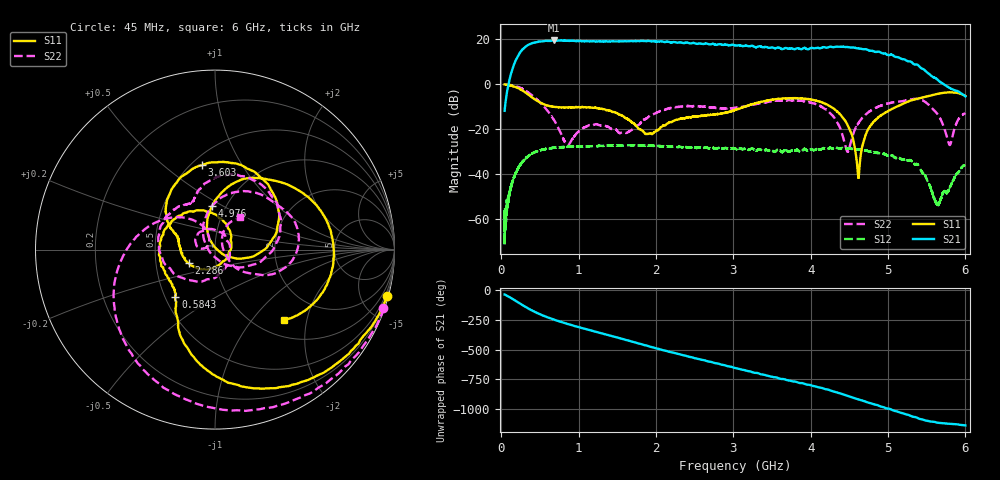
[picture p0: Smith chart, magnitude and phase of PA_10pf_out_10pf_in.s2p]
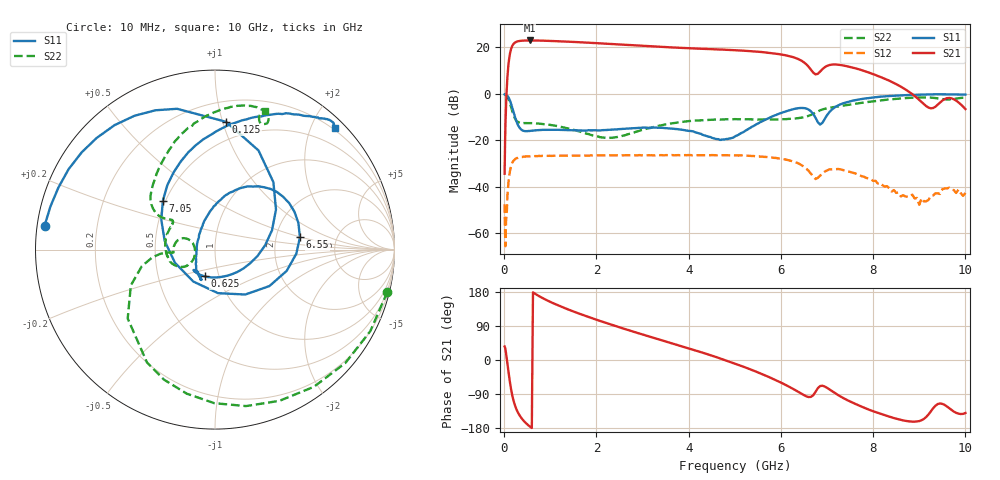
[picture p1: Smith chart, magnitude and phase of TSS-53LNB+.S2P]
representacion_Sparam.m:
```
addpath('/Users/danielmontesano/Documents/MATLAB/rend_v2')
rend('default','painters')


%% PA

pa = sparameters('Sparam/PA_10pf_out_10pf_in.s2p');
pa_man = sparameters('Manufacturer/TSS-53LNB+.S2P');
figure;
hold on;
% rfplot(sparameters('PA_ON.s2p'));
% rfplot(sparameters('PA_L.s2p'));
% rfplot(sparameters('PA_0ohm_out.s2p'));
% rfplot(sparameters('PA_33pf_out.s2p'));
% rfplot(sparameters('PA_10pf_out_10pf_in.s2p'));
% rfplot(sparameters('PA_15pf_out.s2p'));
% rfplot(sparameters('PA_3.3pf_out.s2p'));
% rfplot(sparameters('PA_10pf_out_330pf_in.s2p'));

rfplot(pa,2,1);
rfplot(pa,1,1);
rfplot(pa,2,2);
rfplot(pa_man,2,1,'--');
rfplot(pa_man,1,1,'--');
rfplot(pa_man,2,2,'--');

lines = findobj(gcf,'Type','Line');
for i = 1:numel(lines)
  lines(i).LineWidth = 2.0;
end

ylim([-25 25])
yticks(-25:5:25)
xlim([1.5e9 3.5e9])
xticks(1.5e9:0.25e9:3.5e9);
title('PA S parameters');
legend({'Measured gain','Measured Input R_{loss}','Measured Output R_{loss}','Manufacturer gain','Manufacturer Input R_{loss}','Manufacturer Output R_{loss}'},'Position',[0.25 0.5 0.2 0.2],'fontsize',14);
xlabel('Frequency [Hz]')
ylabel('Magnitude [dB]');
set(gcf, 'color', 'w')
set(gca, 'fontsize', 18)

print('V2_PA_Sparam','-depsc')
savefig('V2_PA_Sparam')
```
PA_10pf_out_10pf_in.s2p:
!Agilent Technologies,E8364A,US41440144,A.06.04.32
!Agilent E8364A: A.06.04.32
!Date: Thursday, November 08, 2018 15:20:55
!Correction: S11(Full 2 Port(1,2)) S21(Full 2 Port(1,2)) S12(Full 2 Port(1,2)) S22(Full 2 Port(1,2))
!S2P File: Measurements: S11, S21, S12, S22:
# Hz S  dB  R 50
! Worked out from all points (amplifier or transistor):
!   16001 points, 45 MHz to 6 GHz, reference 50 ohm
!   highest |S21| = 19.5 dB at 677 MHz (marker M1)
!   |S21| within 3 dB of that: 308.8 MHz to 3.286 GHz (2.977 GHz wide, 166 % of centre)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
!   unconditionally stable (mu >= 1): start of sweep to 48.49 MHz; 48.97 MHz to 49.89 MHz; 50.51 MHz to end of sweep
!   at 1.037 GHz: K = 1.36, MAG = 19.9 dB, |S12| = -27.6 dB
!   at 3.022 GHz: K = 1.74, MAG = 18.0 dB, |S12| = -28.6 dB
!   at 6 GHz: K = 38.90, MAG = -3.6 dB, |S12| = -36.0 dB
!   S11 on the Smith chart (normalised r, x): 45 MHz: 0.20, -7.52; 584.3 MHz: 0.57, -0.34; 2.286 GHz: 0.74, -0.12; 3.603 GHz: 0.56, +0.68; 4.976 GHz: 0.86, +0.44; 6 GHz: 1.31, -1.47
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4.5e7  -0.06 -15.1  -11.79 -35.1  -55.96 161.3  -0.06 -19.2
5.842997e8  -9.28 -130.0  19.32 137.0  -28.68 -16.8  -11.09 139.7
6.769744e8  -10.00 -136.4  19.48 115.3  -28.25 -37.0  -15.54 120.5
1.332024e9  -11.08 138.9  19.03 -7.7  -27.36 -147.3  -18.27 109.4
1.801353e9  -20.12 22.1  19.25 -91.5  -27.22 140.6  -17.16 -81.5
2.285941e9  -15.73 -152.4  18.51 -175.7  -27.88 71.0  -10.09 175.2
3.0225e9  -11.37 154.7  17.31 65.1  -28.65 -32.4  -10.56 113.4
3.603112e9  -6.46 99.0  16.12 -25.9  -29.35 -112.8  -7.25 71.3
4.459516e9  -16.92 -20.9  16.56 -166.1  -28.59 122.0  -28.61 -104.7
4.976484e9  -12.35 93.9  13.43 85.8  -31.31 24.3  -8.73 62.7
6e9  -5.19 -45.7  -5.38 -59.6  -36.00 -110.2  -12.82 52.3
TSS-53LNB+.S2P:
!Mini-Circuits Laboratory
!S-Parameters
!Model: TSS-53LNB+
!Run / Lot / Date Code: NA / NA / NA
!Fixture: NA; UNIT ON TB
!AUTO PORT EXTENSION DONE: PORT<1>=91.91ps; PORT<2>=84.91ps
!Network Analyzer: PNA-X N5242A - 423 4 ports;  Serial number: 71256
!Date: 4/4/2014 at 12:21:25 PM
!S/N: Unit# 1
# Hz  S  dB  R  50
!Frequency  S11 dB  S11 Deg  S21 dB  S21 Deg  S12 dB  S12 Deg  S22 dB  S22 Deg
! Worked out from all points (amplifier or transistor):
!   326 points, 10 MHz to 10 GHz, reference 50 ohm
!   highest |S21| = 22.9 dB at 550 MHz (marker M1)
!   |S21| within 3 dB of that: 162.5 MHz to 3.639 GHz (3.477 GHz wide, 183 % of centre)
!   unconditionally stable (mu >= 1): start of sweep to end of sweep
!   at 1.225 GHz: K = 1.08, MAG = 22.8 dB, |S12| = -26.7 dB
!   at 3.95 GHz: K = 1.24, MAG = 20.1 dB, |S12| = -26.5 dB
!   at 10 GHz: K = 4.27, MAG = 8.8 dB, |S12| = -42.7 dB
!   S11 on the Smith chart (normalised r, x): 10 MHz: 0.02, +0.07; 125 MHz: 0.35, +1.03; 625 MHz: 0.85, -0.26; 6.55 GHz: 2.73, +0.48; 7.05 GHz: 0.48, +0.31; 10 GHz: 0.17, +2.38
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1e7  -0.37 172.0  -34.48 35.6  -47.65 154.0  -0.10 -13.8
1.25e8  -2.92 85.1  17.09 -58.3  -33.47 136.6  -4.16 -141.7
2e8  -7.82 33.3  21.29 -105.7  -28.94 88.9  -9.09 -173.0
3e8  -13.54 -21.1  22.50 -138.7  -27.68 56.8  -12.21 -176.1
5.5e8  -16.12 -101.2  22.85 -174.8  -27.06 26.4  -12.72 179.3
6.25e8  -15.93 -111.4  22.85 178.5  -26.92 22.3  -12.75 176.5
2.175e9  -15.71 -124.9  21.50 99.1  -26.62 -14.9  -18.99 177.8
5.025e9  -18.21 135.2  18.63 -10.5  -26.64 -65.7  -11.02 166.6
6.55e9  -6.41 8.2  12.62 -95.8  -32.30 -121.3  -9.94 147.6
7.05e9  -8.02 137.1  12.26 -77.4  -32.63 -92.8  -6.13 135.1
1e10  -0.44 45.4  -6.66 -139.9  -42.73 -46.6  -1.73 70.1
